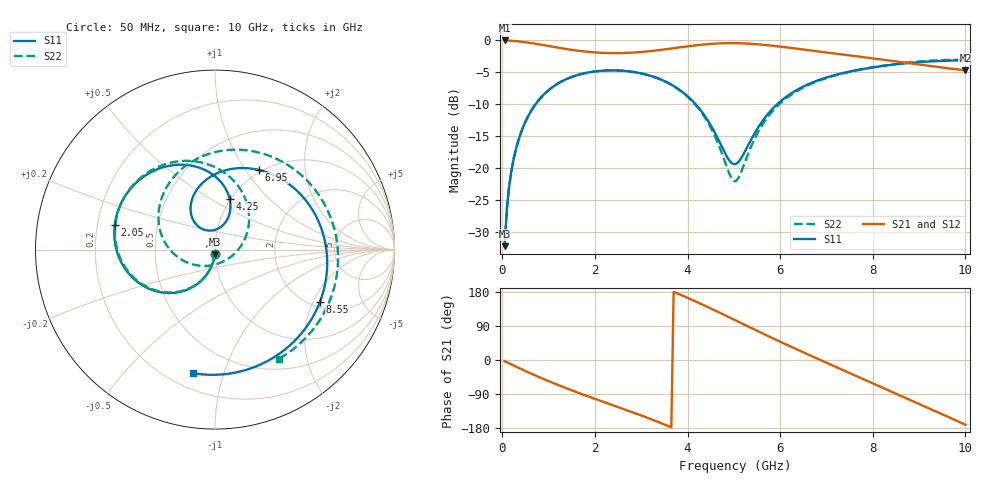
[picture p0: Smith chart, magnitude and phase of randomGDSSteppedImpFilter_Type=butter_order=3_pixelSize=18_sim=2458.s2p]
! freq	dB(S11)	phase(S11)	dB(S12)	phase(S12)
!  dB(S21)	phase(S21)	dB(S22)	phase(S22)
!S-par simulation data
#  GHz  S  DB  R 50
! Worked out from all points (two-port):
!   200 points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, 50 MHz to 10 GHz, reference 50 ohm
!   highest |S21| = -0.01 dB at 50 MHz (marker M1); lowest = -4.7 dB at 10 GHz (marker M2)
!   |S21| within 3 dB of the highest: start of sweep to 8.215 GHz
!   lowest |S11| = -32.1 dB at 50 MHz (marker M3), VSWR 1.05, Z = 49.8 - j2.46 ohm
!   |S11| at or under -10 dB: start of sweep to 715.4 MHz; 4.178 GHz to 5.932 GHz (1.754 GHz wide, 34.7 % of centre)
!   |S22| runs from -32.1 to -3.0 dB; largest |S21 - S12| = 0
!   S11 on the Smith chart (normalised r, x): 50 MHz: 1.00, -0.05; 2.05 GHz: 0.27, +0.11; 4.25 GHz: 0.99, +0.61; 6.95 GHz: 0.97, +1.16; 8.55 GHz: 2.22, -2.26; 10 GHz: 0.29, -0.79
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0.05  -32.15 -93.0  -0.01 -3.0  -0.01 -3.0  -32.15 -93.1
0.1  -26.16 -96.2  -0.02 -6.0  -0.02 -6.0  -26.16 -96.3
0.2  -20.23 -102.2  -0.06 -11.8  -0.06 -11.8  -20.23 -102.4
0.5  -12.69 -119.3  -0.28 -29.1  -0.28 -29.1  -12.69 -119.8
1.1  -7.21 -150.9  -1.00 -60.9  -1.00 -60.9  -7.21 -152.0
1.75  -5.17 179.1  -1.70 -91.3  -1.70 -91.3  -5.17 177.2
2.05  -4.80 166.2  -1.90 -104.6  -1.90 -104.6  -4.80 163.7
2.8  -4.90 134.7  -1.91 -137.3  -1.91 -137.3  -4.90 130.1
3.4  -6.04 109.0  -1.50 -165.1  -1.50 -165.1  -6.05 101.0
3.85  -7.84 89.5  -1.07 172.2  -1.07 172.2  -7.88 76.2
4.25  -10.61 74.0  -0.71 150.4  -0.71 150.4  -10.76 50.1
5.05  -19.28 103.2  -0.43 103.8  -0.43 103.8  -21.95 -77.2
5.4  -15.14 126.8  -0.54 83.0  -0.54 83.0  -16.13 -149.4
5.75  -11.38 120.3  -0.76 62.6  -0.76 62.6  -11.80 178.5
6.25  -8.22 98.1  -1.19 34.1  -1.19 34.1  -8.42 145.8
6.7  -6.56 74.7  -1.61 9.2  -1.61 9.2  -6.69 120.4
6.95  -5.90 61.1  -1.84 -4.5  -1.84 -4.5  -6.01 107.0
7.7  -4.58 19.8  -2.53 -45.2  -2.53 -45.2  -4.60 68.2
8.35  -3.86 -15.9  -3.14 -80.4  -3.14 -80.4  -3.82 34.5
8.55  -3.70 -26.6  -3.33 -91.2  -3.33 -91.2  -3.63 23.9
9.3  -3.26 -65.7  -4.05 -131.9  -4.05 -131.9  -3.14 -17.3
10  -3.11 -100.2  -4.68 -170.8  -4.68 -170.8  -3.04 -59.8
